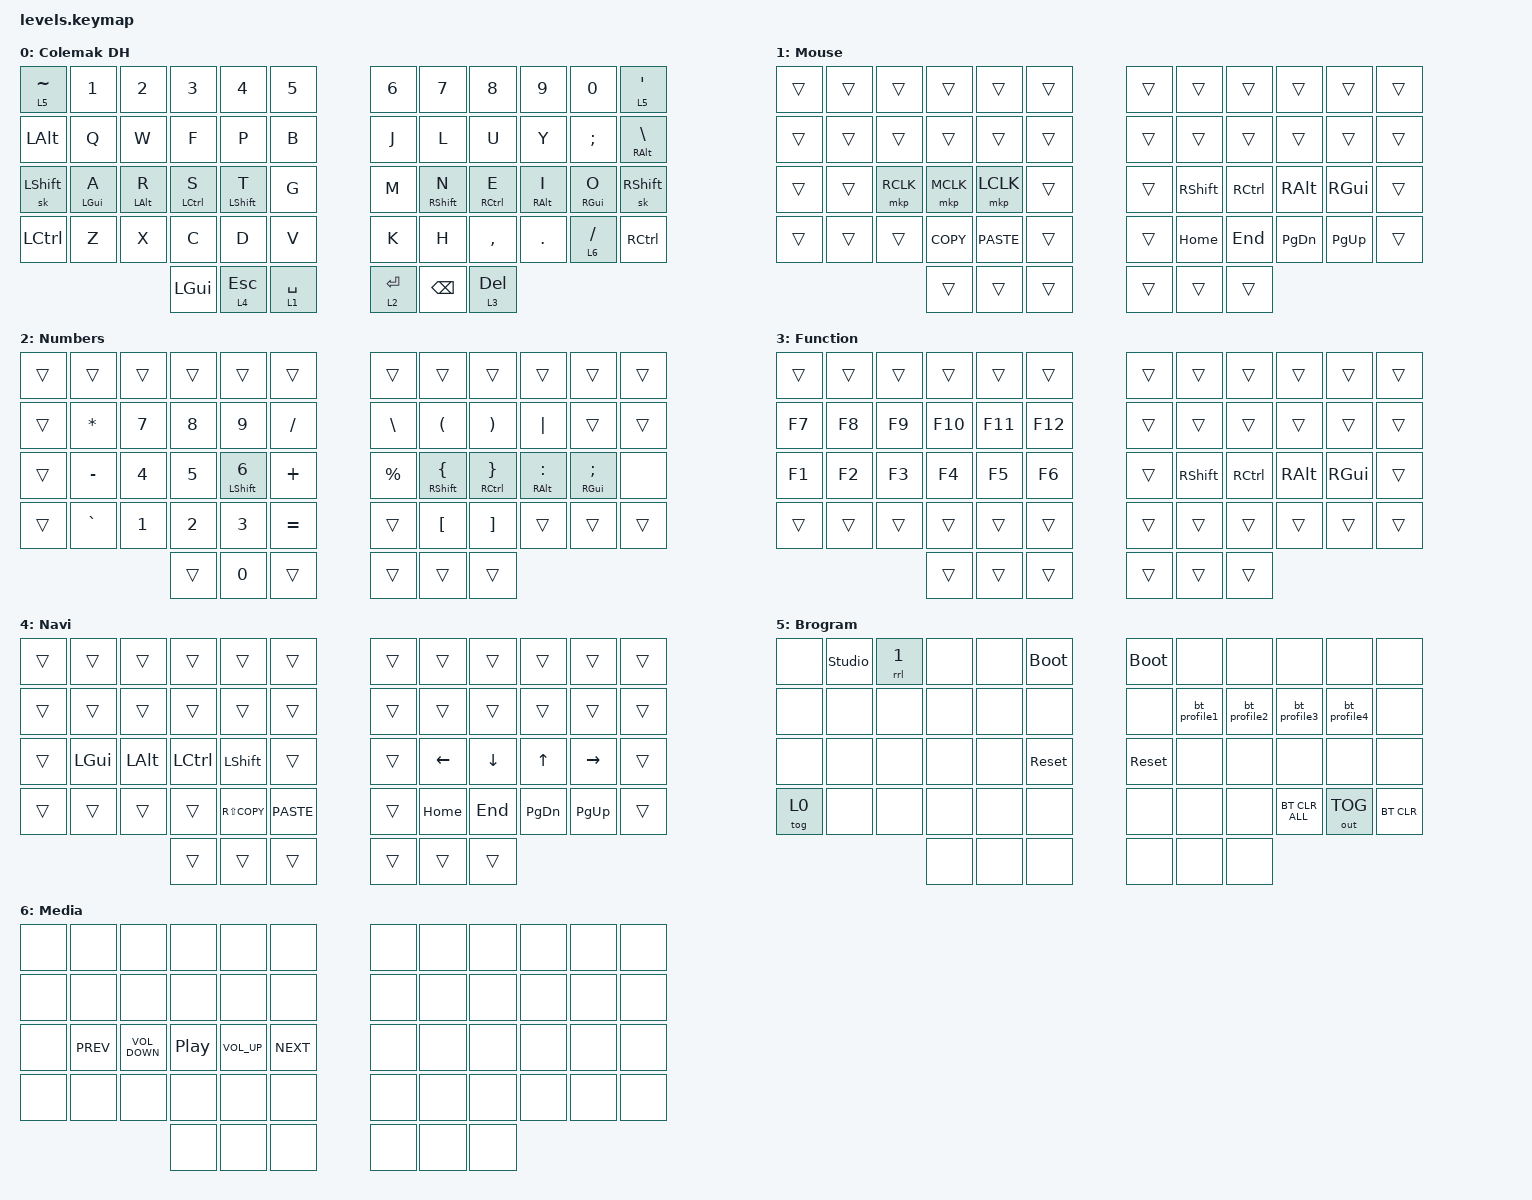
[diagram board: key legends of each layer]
#include <behaviors.dtsi>
#include <dt-bindings/zmk/bt.h>
#include <dt-bindings/zmk/keys.h>
#include <dt-bindings/zmk/outputs.h>
#include <dt-bindings/zmk/pointing.h>

/ {
    combos {
        compatible = "zmk,combos";

        sqoute {
            bindings = <&kp SINGLE_QUOTE>;
            key-positions = <15 20>;
        };

        dqoute {
            bindings = <&kp DOUBLE_QUOTES>;
            key-positions = <16 19>;
        };

        kminus {
            bindings = <&kp MINUS>;
            key-positions = <43 44>;
        };

        kunder {
            bindings = <&kp UNDER>;
            key-positions = <44 45>;
        };

        ktab {
            bindings = <&kp TAB>;
            key-positions = <14 21>;
        };

        kcaps {
            bindings = <&caps_word>;
            key-positions = <40 43>;
        };

        kskinny {
            bindings = <&skinnyarrow>;
            key-positions = <28 31>;
        };

        kfat {
            bindings = <&fatarrow>;
            key-positions = <28 31 32>;
        };

        kpipe {
            bindings = <&pipeopr>;
            key-positions = <29 30>;
        };

        kvimsave {
            bindings = <&vimsave>;
            key-positions = <50 14>;
        };

        spc_macro {
            bindings = <&kp SPACE>;
            key-positions = <27 32>;
        };
    };

    macros {
        vimsave: vimsave {
            compatible = "zmk,behavior-macro";
            #binding-cells = <0>;
            bindings = <&kp ESCAPE &kp COLON &kp W &kp RET>;
            label = "VIMSAVE";
        };

        skinnyarrow: skinnyarrow {
            compatible = "zmk,behavior-macro";
            #binding-cells = <0>;
            bindings = <&kp MINUS &kp GREATER_THAN>;
            label = "SKINNYARROW";
        };

        fatarrow: fatarrow {
            compatible = "zmk,behavior-macro";
            #binding-cells = <0>;
            bindings = <&kp EQUAL &kp GREATER_THAN>;
            label = "FATARROW";
        };

        pipeopr: pipeopr {
            compatible = "zmk,behavior-macro";
            #binding-cells = <0>;
            bindings = <&kp PIPE &kp GREATER_THAN>;
            label = "PIPEOPR";
        };

        bt_profile1: bt_profile1 {
            compatible = "zmk,behavior-macro";
            #binding-cells = <0>;
            bindings = <&out OUT_BLE &bt BT_SEL 0>;
            label = "BT_PROFILE1";
        };

        bt_profile2: bt_profile2 {
            compatible = "zmk,behavior-macro";
            #binding-cells = <0>;
            bindings = <&out OUT_BLE &bt BT_SEL 1>;
            label = "BT_PROFILE2";
        };

        bt_profile3: bt_profile3 {
            compatible = "zmk,behavior-macro";
            #binding-cells = <0>;
            bindings = <&out OUT_BLE &bt BT_SEL 2>;
            label = "BT_PROFILE3";
        };

        bt_profile4: bt_profile4 {
            compatible = "zmk,behavior-macro";
            #binding-cells = <0>;
            bindings = <&out OUT_BLE &bt BT_SEL 3>;
            label = "BT_PROFILE4";
        };
    };

    behaviors {
        hml: hml {
            compatible = "zmk,behavior-hold-tap";
            label = "HML";
            bindings = <&kp>, <&kp>;

            #binding-cells = <2>;
            tapping-term-ms = <250>;
            quick-tap-ms = <175>;
            require-prior-idle-ms = <145>;
            flavor = "balanced";
            hold-trigger-key-positions = <6 7 8 9 10 11 18 19 20 21 22 23 30 31 32 33 34 35 42 43 44 45 46 47 51 52 53 50 49 48>;
            hold-trigger-on-release;
        };

        hmr: hmr {
            compatible = "zmk,behavior-hold-tap";
            label = "HMR";
            bindings = <&kp>, <&kp>;

            #binding-cells = <2>;
            tapping-term-ms = <280>;
            quick-tap-ms = <175>;
            require-prior-idle-ms = <150>;
            flavor = "balanced";
            hold-trigger-key-positions = <0 1 5 12 13 14 15 16 17 24 25 26 27 28 29 36 37 38 39 40 41 48 49 50 4 3 15 2 51 52 53>;
            hold-trigger-on-release;
        };

        mouse_tap: mouse_tap {
            compatible = "zmk,behavior-hold-tap";
            label = "MOUSE_TAP";
            bindings = <&mo>, <&kp>;

            #binding-cells = <2>;
            tapping-term-ms = <150>;
            flavor = "hold-preferred";
            hold-trigger-on-release;
            hold-trigger-key-positions = <28 26 27>;
        };
    };

    keymap {
        compatible = "zmk,keymap";

        colemak_dh {
            display-name = "Colemak DH";
            bindings = <
&lt 5 TILDE     &kp N1           &kp N2           &kp N3        &kp N4             &kp N5         &kp N6     &kp N7              &kp N8        &kp N9            &kp N0       &lt 5 SINGLE_QUOTE
&kp LEFT_ALT    &kp Q            &kp W            &kp F         &kp P              &kp B          &kp J      &kp L               &kp U         &kp Y             &kp SEMI     &mt RIGHT_ALT BSLH
&sk LEFT_SHIFT  &hml LEFT_GUI A  &hml LEFT_ALT R  &hml LCTRL S  &hml LEFT_SHIFT T  &kp G          &kp M      &hmr RIGHT_SHIFT N  &hmr RCTRL E  &hmr RIGHT_ALT I  &hmr RGUI O  &sk RIGHT_SHIFT
&kp LCTRL       &kp Z            &kp X            &kp C         &kp D              &kp V          &kp K      &kp H               &kp COMMA     &kp DOT           &lt 6 SLASH  &kp RCTRL
                                                  &kp LEFT_GUI  &lt 4 ESCAPE       &lt 1 SPACE    &lt 2 RET  &kp BACKSPACE       &lt 3 DELETE
            >;
        };

        mouse {
            display-name = "Mouse";
            bindings = <
&trans  &trans  &trans     &trans      &trans       &trans    &trans  &trans     &trans     &trans         &trans       &trans
&trans  &trans  &trans     &trans      &trans       &trans    &trans  &trans     &trans     &trans         &trans       &trans
&trans  &trans  &mkp RCLK  &mkp MCLK   &mkp LCLK    &trans    &trans  &kp RSHFT  &kp RCTRL  &kp RALT       &kp RGUI     &trans
&trans  &trans  &trans     &kp K_COPY  &kp K_PASTE  &trans    &trans  &kp HOME   &kp END    &kp PAGE_DOWN  &kp PAGE_UP  &trans
                           &trans      &trans       &trans    &trans  &trans     &trans
            >;
        };

        num {
            display-name = "Numbers";
            bindings = <
&trans  &trans        &trans  &trans  &trans              &trans       &trans         &trans                 &trans                  &trans           &trans          &trans
&trans  &kp ASTERISK  &kp N7  &kp N8  &kp N9              &kp SLASH    &kp BACKSLASH  &kp LEFT_PARENTHESIS   &kp RIGHT_PARENTHESIS   &kp PIPE         &trans          &trans
&trans  &kp MINUS     &kp N4  &kp N5  &hml LEFT_SHIFT N6  &kp PLUS     &kp PERCENT    &hmr RSHFT LEFT_BRACE  &hmr RCTRL RIGHT_BRACE  &hmr RALT COLON  &hmr RGUI SEMI  &none
&trans  &kp GRAVE     &kp N1  &kp N2  &kp N3              &kp EQUAL    &trans         &kp LEFT_BRACKET       &kp RIGHT_BRACKET       &trans           &trans          &trans
                              &trans  &kp N0              &trans       &trans         &trans                 &trans
            >;
        };

        func {
            display-name = "Function";
            bindings = <
&trans  &trans  &trans  &trans   &trans   &trans     &trans  &trans     &trans     &trans    &trans    &trans
&kp F7  &kp F8  &kp F9  &kp F10  &kp F11  &kp F12    &trans  &trans     &trans     &trans    &trans    &trans
&kp F1  &kp F2  &kp F3  &kp F4   &kp F5   &kp F6     &trans  &kp RSHFT  &kp RCTRL  &kp RALT  &kp RGUI  &trans
&trans  &trans  &trans  &trans   &trans   &trans     &trans  &trans     &trans     &trans    &trans    &trans
                        &trans   &trans   &trans     &trans  &trans     &trans
            >;
        };

        nav {
            bindings = <
&trans  &trans        &trans        &trans     &trans          &trans         &trans  &trans    &trans    &trans         &trans       &trans
&trans  &trans        &trans        &trans     &trans          &trans         &trans  &trans    &trans    &trans         &trans       &trans
&trans  &kp LEFT_GUI  &kp LEFT_ALT  &kp LCTRL  &kp LEFT_SHIFT  &trans         &trans  &kp LEFT  &kp DOWN  &kp UP         &kp RIGHT    &trans
&trans  &trans        &trans        &trans     &kp RS(K_COPY)  &kp K_PASTE    &trans  &kp HOME  &kp END   &kp PAGE_DOWN  &kp PAGE_UP  &trans
                                    &trans     &trans          &trans         &trans  &trans    &trans
            >;

            label = "Navi";
        };

        prog {
            bindings = <
&none   &studio_unlock  &rrl 1 &none  &none  &bootloader    &bootloader  &none         &none         &none           &none         &none
&none   &none           &none  &none  &none  &none          &none        &bt_profile1  &bt_profile2  &bt_profile3    &bt_profile4  &none
&none   &none           &none  &none  &none  &sys_reset     &sys_reset   &none         &none         &none           &none         &none
&tog 0  &none           &none  &none  &none  &none          &none        &none         &none         &bt BT_CLR_ALL  &out OUT_TOG  &bt BT_CLR
                               &none  &none  &none          &none        &none         &none
            >;

            label = "Brogram";
        };

        media {
            bindings = <
&none  &none       &none              &none             &none            &none         &none  &none  &none  &none  &none  &none
&none  &none       &none              &none             &none            &none         &none  &none  &none  &none  &none  &none
&none  &kp C_PREV  &kp C_VOLUME_DOWN  &kp C_PLAY_PAUSE  &kp C_VOLUME_UP  &kp C_NEXT    &none  &none  &none  &none  &none  &none
&none  &none       &none              &none             &none            &none         &none  &none  &none  &none  &none  &none
                                      &none             &none            &none         &none  &none  &none
            >;

            label = "Media";
        };
    };
};
